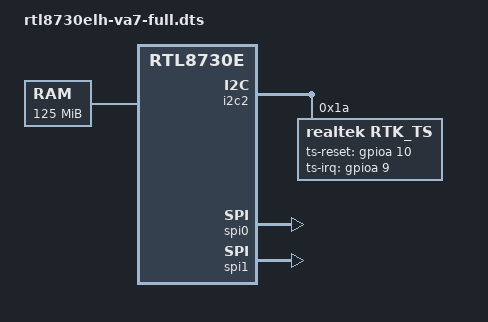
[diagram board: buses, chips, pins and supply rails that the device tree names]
/*
 * Realtek Semiconductor Corp.
 *
 * Device Tree Structure
 */

/dts-v1/;

#include "rtl8730e.dtsi"
#include "rtl8730e-spi-nand-128m.dtsi"
#include "rtl8730e-drm.dtsi"

/ {
	memory {
		device_type = "memory";
		// DRAM base address should be 1MB-aligned.
		reg = <0x60300000 0x7D00000>;  // 128MB -- exclude 3MB secure memory
	};
	reserved-memory {
		#address-cells = <1>;
		#size-cells = <1>;
		ranges;
		// reserver 32M mem for drm graphics , from 0x61000000 to 0x63000000
		mem_drm_reserved: drm_buffer@0x61000000 {
			compatible = "shared-dma-pool";
			no-map;
			reg = <0x61000000 0x2000000>;
			//linux,cma-default;
		};
	};
};

// Configure pinmux, avoid the pin conflict.

&i2c0{
	pinctrl-names = "default";
	pinctrl-0 = <&i2c0_pins_a>;
	status = "disabled";
};

&i2c1{
	pinctrl-names = "default";
	pinctrl-0 = <&i2c1_pins_a>;
	status = "disabled";
};

&i2c2{
	#address-cells = <1>;
	#size-cells = <0>;
	pinctrl-names = "default";
	pinctrl-0 = <&i2c2_pins_b>;
	status = "okay";

	rtk_ts@1a {
		compatible = "realtek,rtk_ts";
		reg = <0x1a>;
		ts-reset-gpios = <&gpioa 10 0>;
		ts-irq-gpios = <&gpioa 9 0>;
		max-touch-number = <5>;
		ts-display-coords = <480 800>;
	};
};

&spi0{
	pinctrl-names = "default";
	pinctrl-0 = <&spi0_pins_c>;
	status = "okay";
};

&spi1{
	pinctrl-names = "default";
	pinctrl-0 = <&spi1_pins_a>;
	status = "okay";
};

&ir{
	pinctrl-names = "default";
	pinctrl-0 = <&ir_pins_a>;
	status = "disabled";
};

&sport2 {
	rtk,sport-multi-io = <1>;
	rtk,sport-mode = <1>;
	rtk,sport-mclk-multiplier = <256>;
};

&sport3 {
	rtk,sport-multi-io = <1>;
	rtk,sport-mode = <0>;
	rtk,sport-mclk-multiplier = <0>;
};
